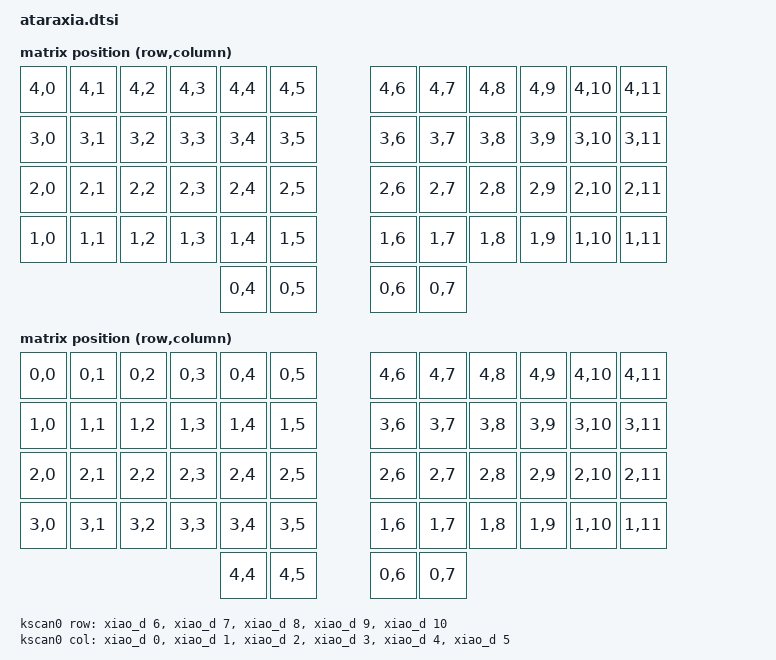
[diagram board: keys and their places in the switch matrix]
#include <dt-bindings/zmk/matrix_transform.h>
#include <dt-bindings/gpio/gpio.h>

/ {
    chosen {
        zmk,kscan = &kscan0;
        zmk,matrix_transform = &default_transform;
    };

    /*
     * Ataraxia SP: 26 keys per half, 5 row x 6 column matrix.
     * Row 4 = physical top, row 0 = physical bottom (thumb row on tall columns).
     * Tall columns (5 keys): rows 0-4. Short columns (4 keys): rows 1-4.
     *
     * Right (inner->outer): cols 0-1 tall + thumbs, cols 2-5 short.
     */
    default_transform: keymap_transform_0 {
        compatible = "zmk,matrix-transform";
        columns = <12>;
        rows = <5>;
        map = <
            RC(4,0) RC(4,1) RC(4,2) RC(4,3) RC(4,4) RC(4,5)    RC(4,6) RC(4,7) RC(4,8) RC(4,9) RC(4,10) RC(4,11)
            RC(3,0) RC(3,1) RC(3,2) RC(3,3) RC(3,4) RC(3,5)    RC(3,6) RC(3,7) RC(3,8) RC(3,9) RC(3,10) RC(3,11)
            RC(2,0) RC(2,1) RC(2,2) RC(2,3) RC(2,4) RC(2,5)    RC(2,6) RC(2,7) RC(2,8) RC(2,9) RC(2,10) RC(2,11)
            RC(1,0) RC(1,1) RC(1,2) RC(1,3) RC(1,4) RC(1,5)    RC(1,6) RC(1,7) RC(1,8) RC(1,9) RC(1,10) RC(1,11)
                                            RC(0,4) RC(0,5)    RC(0,6) RC(0,7)
        >;
    };

    /*
     * Left half: row-flipped vs right. GPIO row 0 = physical top, row 4 = thumbs.
     * Outer cols 0-3 short (rows 0-3); inner cols 4-5 tall (rows 0-4) + thumbs.
     */
    left_transform: keymap_transform_1 {
        compatible = "zmk,matrix-transform";
        columns = <12>;
        rows = <5>;
        map = <
            RC(0,0) RC(0,1) RC(0,2) RC(0,3) RC(0,4) RC(0,5)    RC(4,6) RC(4,7) RC(4,8) RC(4,9) RC(4,10) RC(4,11)
            RC(1,0) RC(1,1) RC(1,2) RC(1,3) RC(1,4) RC(1,5)    RC(3,6) RC(3,7) RC(3,8) RC(3,9) RC(3,10) RC(3,11)
            RC(2,0) RC(2,1) RC(2,2) RC(2,3) RC(2,4) RC(2,5)    RC(2,6) RC(2,7) RC(2,8) RC(2,9) RC(2,10) RC(2,11)
            RC(3,0) RC(3,1) RC(3,2) RC(3,3) RC(3,4) RC(3,5)    RC(1,6) RC(1,7) RC(1,8) RC(1,9) RC(1,10) RC(1,11)
                                            RC(4,4) RC(4,5)    RC(0,6) RC(0,7)
        >;
    };

    kscan0: kscan_0 {
        compatible = "zmk,kscan-gpio-matrix";
        diode-direction = "col2row";

        row-gpios
            = <&xiao_d 6 (GPIO_ACTIVE_HIGH | GPIO_PULL_DOWN)>
            , <&xiao_d 7 (GPIO_ACTIVE_HIGH | GPIO_PULL_DOWN)>
            , <&xiao_d 8 (GPIO_ACTIVE_HIGH | GPIO_PULL_DOWN)>
            , <&xiao_d 9 (GPIO_ACTIVE_HIGH | GPIO_PULL_DOWN)>
            , <&xiao_d 10 (GPIO_ACTIVE_HIGH | GPIO_PULL_DOWN)>
            ;

        col-gpios
            = <&xiao_d 0 GPIO_ACTIVE_HIGH>
            , <&xiao_d 1 GPIO_ACTIVE_HIGH>
            , <&xiao_d 2 GPIO_ACTIVE_HIGH>
            , <&xiao_d 3 GPIO_ACTIVE_HIGH>
            , <&xiao_d 4 GPIO_ACTIVE_HIGH>
            , <&xiao_d 5 GPIO_ACTIVE_HIGH>
            ;
    };
};

&uicr {
    nfct-pins-as-gpios;
};
